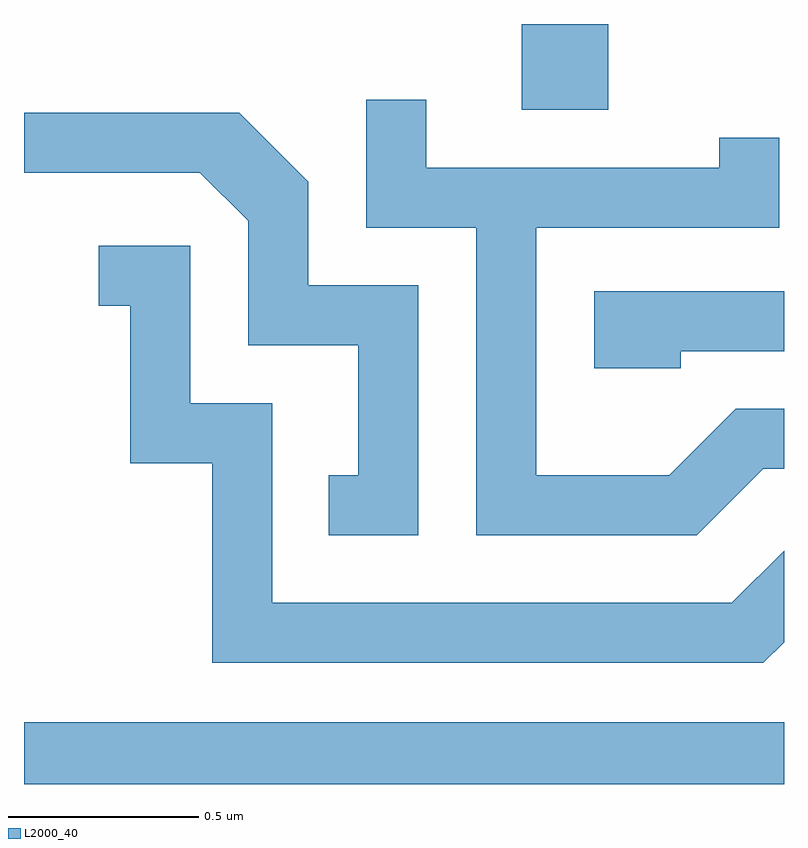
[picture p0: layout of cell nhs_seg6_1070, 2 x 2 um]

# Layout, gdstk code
import gdstk
lib = gdstk.Library(unit=1e-6, precision=1e-09)
def R(c, l, rs):  # rectangles x0, y0, x1, y1
    for r in rs: c.add(gdstk.rectangle(r[:2], r[2:], *l))
def P(c, l, *ps):  # polygons
    for p in ps: c.add(gdstk.Polygon(p, *l))
L2000_40 = (2000, 40)

nhs_seg6_1070 = lib.new_cell('nhs_seg6_1070')
R(nhs_seg6_1070, L2000_40, [(192.611,1641.162,194.611,1641.324), (193.921,1642.936,194.149,1643.162)])
P(nhs_seg6_1070, L2000_40, [(194.557,1641.991),(194.611,1641.991),(194.611,1642.149),(194.484,1642.149),(194.309,1641.974),(193.959,1641.974),(193.959,1642.626),(194.599,1642.626),(194.599,1642.863),(194.441,1642.863),(194.441,1642.784),(193.669,1642.784),(193.669,1642.963),(193.511,1642.963),(193.511,1642.626),(193.801,1642.626),(193.801,1641.816),(194.382,1641.816)],
  [(193.649,1642.474),(193.359,1642.474),(193.359,1642.747),(193.177,1642.929),(192.611,1642.929),(192.611,1642.771),(193.074,1642.771),(193.201,1642.644),(193.201,1642.316),(193.491,1642.316),(193.491,1641.974),(193.413,1641.974),(193.413,1641.816),(193.649,1641.816)],
  [(194.611,1641.535),(194.611,1641.776),(194.474,1641.639),(193.264,1641.639),(193.264,1642.164),(193.049,1642.164),(193.049,1642.579),(192.808,1642.579),(192.808,1642.421),(192.891,1642.421),(192.891,1642.006),(193.106,1642.006),(193.106,1641.481),(194.557,1641.481)],
  [(194.339,1642.301),(194.611,1642.301),(194.611,1642.459),(194.111,1642.459),(194.111,1642.256),(194.339,1642.256)])

lib.write_gds('nhs_seg6_1070.gds')
